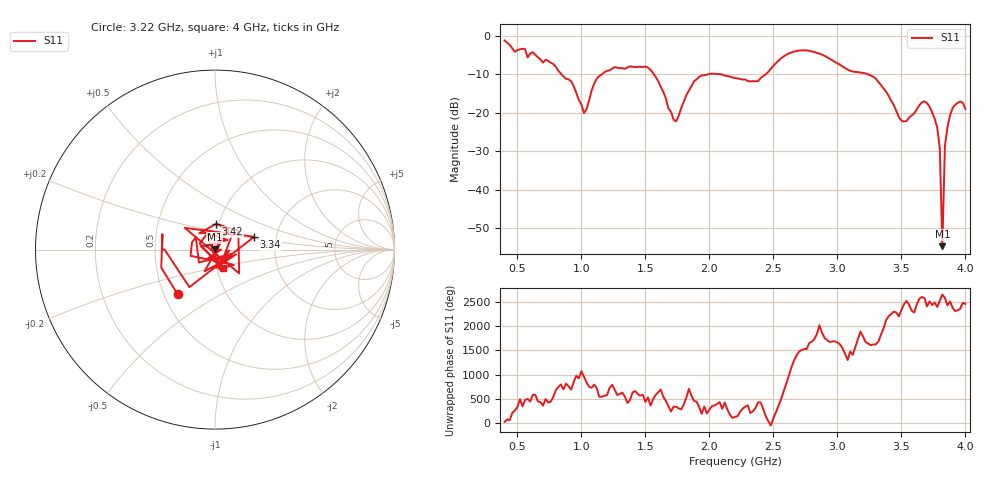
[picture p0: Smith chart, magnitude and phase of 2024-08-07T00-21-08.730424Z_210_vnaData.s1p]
!Created with skrf (http://scikit-rf.org).
# Hz S RI R 50.0
!freq ReS11 ImS11
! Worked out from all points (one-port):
!   181 points, 400 MHz to 4 GHz, reference 50 ohm
!   lowest |S11| = -54.7 dB at 3.82 GHz (marker M1), VSWR 1.00, Z = 49.9 + j0.145 ohm
!   |S11| at or under -10 dB: 1.567 GHz to 1.989 GHz (421.9 MHz wide, 23.7 % of centre); 2.09 GHz to 2.44 GHz (349.8 MHz wide, 15.4 % of centre); 3.239 GHz to end of sweep (the widest 3 of 4)
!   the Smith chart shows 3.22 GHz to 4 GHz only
!   S11 on the Smith chart (normalised r, x): 3.22 GHz: 0.59, -0.33; 3.34 GHz: 1.54, +0.23; 3.42 GHz: 0.97, +0.28; 4 GHz: 1.07, -0.22
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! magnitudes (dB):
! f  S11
! 400 MHz  -1.2
! 860 MHz  -10.5
! 920 MHz  -11.8
! 1.02 GHz  -20.1
! 1.12 GHz  -11.1
! 1.3 GHz  -8.4
! 1.52 GHz  -8.3
! 1.6 GHz  -11.8
! 1.72 GHz  -21.8
! 1.76 GHz  -20.8
! 1.92 GHz  -10.7
! 2.2 GHz  -11.0
! 2.38 GHz  -11.7
! 2.66 GHz  -4.1
! 3.1 GHz  -9.1
! 3.22 GHz  -9.8
! 3.34 GHz  -12.8
! 3.42 GHz  -16.9
! 3.5 GHz  -22.0
! 3.56 GHz  -21.3
! 3.68 GHz  -17.0
! 3.78 GHz  -23.8
! 3.8 GHz  -29.3
! 3.82 GHz  -54.7
! 3.84 GHz  -28.7
! 3.86 GHz  -23.7
! 3.92 GHz  -17.9
! 4 GHz  -19.0
